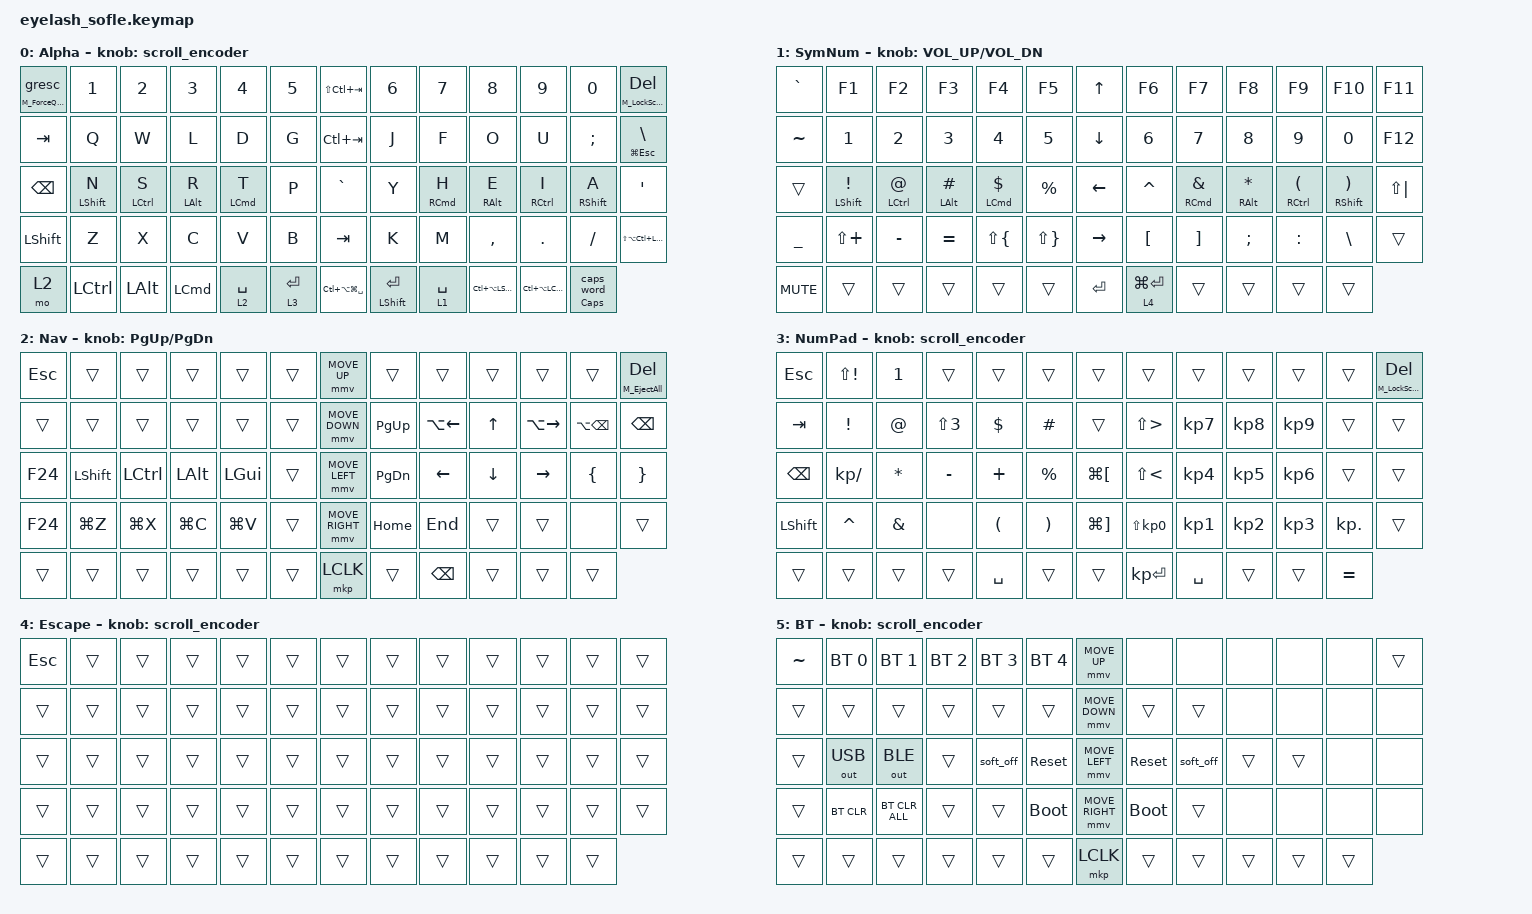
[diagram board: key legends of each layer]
#define ZMK_POINTING_DEFAULT_MOVE_VAL 1200  // 600
#define ZMK_POINTING_DEFAULT_SCRL_VAL 25   // 10

#include <input/processors.dtsi>
#include <zephyr/dt-bindings/input/input-event-codes.h>
#include <behaviors.dtsi>
#include <dt-bindings/zmk/bt.h>
#include <dt-bindings/zmk/keys.h>
#include <dt-bindings/zmk/outputs.h>
#include <dt-bindings/zmk/pointing.h>

&mmv_input_listener { input-processors = <&zip_xy_scaler 2 1>; };

&msc_input_listener { input-processors = <&zip_scroll_scaler 2 1>; };

&msc {
    acceleration-exponent = <1>;      // 0
    time-to-max-speed-ms = <100>;       // 300
    delay-ms = <0>;                   // 0
};

&mmv {
    time-to-max-speed-ms = <500>;
    acceleration-exponent = <1>;
    trigger-period-ms = <16>;
};

&soft_off { hold-time-ms = <2000>; };

&mt {
    tapping-term-ms = <165>;
    flavor = "balanced";
};

&gresc { keep-mods = <(MOD_LSFT|MOD_LGUI|MOD_RSFT|MOD_RGUI)>; };

/ {
    scroll_encoder: scroll_encoder {
        compatible = "zmk,behavior-sensor-rotate";
        #sensor-binding-cells = <0>;
        bindings = <&msc SCRL_UP>, <&msc SCRL_DOWN>;

        tap-ms = <100>;
        label = "mouseScroll";
    };

    TH_Caps: TH_Caps {
        compatible = "zmk,behavior-hold-tap";
        label = "TH_CAPS";
        bindings = <&kp>, <&caps_word>;

        #binding-cells = <2>;
        tapping-term-ms = <200>;
        flavor = "tap-preferred";
    };

    BH_Scroll_Encoder: BH_Scroll_Encoder {
        compatible = "zmk,behavior-sensor-rotate";
        label = "BH_SCROLL_ENCODER";
        #sensor-binding-cells = <0>;
        bindings = <&msc SCRL_UP>, <&msc SCRL_DOWN>;

        tap-ms = <100>;
    };

    TH_Gresc_ForceQuit: TH_Gresc_ForceQuit {
        compatible = "zmk,behavior-hold-tap";
        label = "TH_GRESC_FORCEQUIT";
        bindings = <&M_ForceQuit>, <&gresc>;

        #binding-cells = <2>;
        tapping-term-ms = <400>;
        flavor = "tap-preferred";
    };

    Del_ejectAll: Del_ejectAll {
        compatible = "zmk,behavior-hold-tap";
        label = "DEL_EJECTALL";
        bindings = <&M_EjectAll>, <&kp>;

        #binding-cells = <2>;
        tapping-term-ms = <300>;
        flavor = "tap-preferred";
    };

    del_scrnSvr: del_scrnSvr {
        compatible = "zmk,behavior-hold-tap";
        label = "DEL_SCRNSVR";
        bindings = <&M_LockScreen>, <&kp>;

        #binding-cells = <2>;
        tapping-term-ms = <300>;
        flavor = "tap-preferred";
    };

    mt_L: mt_L {
        compatible = "zmk,behavior-hold-tap";
        label = "MT_L";
        bindings = <&kp>, <&kp>;

        #binding-cells = <2>;
        tapping-term-ms = <200>;
        quick-tap-ms = <175>;
        require-prior-idle-ms = <150>;
        flavor = "balanced";
        hold-trigger-on-release;
        hold-trigger-key-positions = <59 60 46 47 48 49 50 7 8 9 10 11 20 21 22 23 24 25 33 34 35 36 37 38 48>;
    };

    mt_R: mt_R {
        compatible = "zmk,behavior-hold-tap";
        label = "MT_R";
        bindings = <&kp>, <&kp>;

        #binding-cells = <2>;
        tapping-term-ms = <200>;
        quick-tap-ms = <175>;
        require-prior-idle-ms = <150>;
        flavor = "balanced";
        hold-trigger-on-release;
        hold-trigger-key-positions = <1 2 3 4 5 13 14 15 16 17 18 26 27 28 29 30 31 40 41 42 43 44 56 57 0>;
    };

    TH_tapPreferred: TH_tapPreferred {
        compatible = "zmk,behavior-hold-tap";
        label = "TH_TAPPREFERRED";
        bindings = <&kp>, <&kp>;

        #binding-cells = <2>;
        tapping-term-ms = <250>;
        flavor = "tap-preferred";
    };

    behaviors {
    };

    combos {
        compatible = "zmk,combos";

        softoff {
            bindings = <&soft_off>;
            key-positions = <14 28 40>;
        };

        Undo {
            bindings = <&kp LG(Z)>;
            key-positions = <40 41>;
        };

        cut {
            bindings = <&kp LG(X)>;
            key-positions = <41 42>;
        };

        Copy {
            bindings = <&kp LG(C)>;
            key-positions = <42 43>;
        };

        Paste {
            bindings = <&kp LG(V)>;
            key-positions = <44 43>;
        };

        CreateNew {
            bindings = <&kp LG(N)>;
            key-positions = <27 28>;
        };

        SelectAll {
            bindings = <&kp LG(A)>;
            key-positions = <39 27>;
        };

        SelectAll_v2 {
            bindings = <&kp LG(A)>;
            key-positions = <51 37>;
        };

        ForceQuit {
            bindings = <&M_ForceQuit>;
            key-positions = <0 12>;
        };
    };

    macros {
        M_ForceQuit: M_ForceQUit {
            compatible = "zmk,behavior-macro";
            #binding-cells = <0>;
            bindings =
                <&macro_press>,
                <&kp LEFT_GUI &kp LEFT_ALT>,
                <&macro_press>,
                <&kp ESCAPE>,
                <&macro_release>,
                <&kp ESCAPE>,
                <&macro_release>,
                <&kp LEFT_GUI &kp LEFT_ALT>;

            label = "M_FORCEQUIT";
        };

        M_EjectAll: M_EjectAll {
            compatible = "zmk,behavior-macro";
            #binding-cells = <0>;
            bindings =
                <&macro_tap>,
                <&macro_wait_time 400>,
                <&kp LG(SPACE)>,
                <&macro_wait_time 100>,
                <&kp E &kp J &kp E &kp C &kp T &kp SPACE &kp A &kp L &kp L>,
                <&macro_wait_time 250>,
                <&macro_tap>,
                <&kp ENTER>;

            label = "M_EJECTALL";
        };

        M_LockScreen: M_LockScreen {
            compatible = "zmk,behavior-macro";
            #binding-cells = <0>;
            bindings =
                <&macro_tap>,
                <&macro_wait_time 400>,
                <&kp LG(SPACE)>,
                <&macro_wait_time 100>,
                <&kp L &kp O &kp C &kp K &kp SPACE &kp S &kp C &kp R &kp E &kp E &kp N>,
                <&macro_wait_time 250>,
                <&macro_tap>,
                <&kp ENTER>;

            label = "M_LOCKSCREEN";
        };
    };

    keymap {
        compatible = "zmk,keymap";

        layer_0 {
            bindings = <
&TH_Gresc_ForceQuit 0 0  &kp N1              &kp N2                &kp N3            &kp N4                &kp N5         &kp LS(LC(TAB))        &kp N6                 &kp N7                 &kp N8                  &kp N9                    &kp N0               &del_scrnSvr 0 DELETE
&kp TAB                  &kp Q               &kp W                 &kp L             &kp D                 &kp G          &kp LC(TAB)            &kp J                  &kp F                  &kp O                   &kp U                     &kp SEMICOLON        &TH_tapPreferred LG(ESC) BACKSLASH
&kp BACKSPACE            &mt_L LEFT_SHIFT N  &mt_L LEFT_CONTROL S  &mt_L LEFT_ALT R  &mt_L LEFT_COMMAND T  &kp P          &kp GRAVE              &kp Y                  &mt_R RIGHT_COMMAND H  &mt_R RIGHT_ALT E       &mt_R RIGHT_CONTROL I     &mt_R RIGHT_SHIFT A  &kp APOS
&kp LSHFT                &kp Z               &kp X                 &kp C             &kp V                 &kp B          &kp TAB                &kp K                  &kp M                  &kp COMMA               &kp DOT                   &kp FSLH             &kp LS(LA(LC(LEFT_COMMAND)))
&mo 2                    &kp LCTRL           &kp LEFT_ALT          &kp LEFT_COMMAND  &lt 2 SPACE           &lt 3 ENTER    &kp LC(LA(LG(SPACE)))  &mt LEFT_SHIFT RETURN  &lt 1 SPACE            &kp LC(LA(LEFT_SHIFT))  &kp LC(LA(LEFT_COMMAND))  &TH_Caps CAPS 0
            >;

            sensor-bindings = <&scroll_encoder>;
            display-name = "Alpha";
        };

        layer_1 {
            bindings = <
&kp GRAVE   &kp F1               &kp F2               &kp F3              &kp F4                   &kp F5          &kp UP_ARROW    &kp F6            &kp F7                  &kp F8              &kp F9                              &kp F10                            &kp F11
&kp TILDE   &kp NUMBER_1         &kp NUMBER_2         &kp N3              &kp N4                   &kp N5          &kp DOWN_ARROW  &kp N6            &kp N7                  &kp N8              &kp N9                              &kp N0                             &kp F12
&trans      &mt LEFT_SHIFT EXCL  &mt LEFT_CONTROL AT  &mt LEFT_ALT POUND  &mt LEFT_COMMAND DOLLAR  &kp PERCENT     &kp LEFT_ARROW  &kp CARET         &mt RIGHT_COMMAND AMPS  &mt RIGHT_ALT STAR  &mt RIGHT_CONTROL LEFT_PARENTHESIS  &mt RIGHT_SHIFT RIGHT_PARENTHESIS  &kp LS(PIPE)
&kp UNDER   &kp LS(PLUS)         &kp MINUS            &kp EQUAL           &kp LS(LBRC)             &kp LS(RBRC)    &kp RIGHT       &kp LEFT_BRACKET  &kp RIGHT_BRACKET       &kp SEMICOLON       &kp COLON                           &kp BACKSLASH                      &trans
&kp C_MUTE  &trans               &trans               &trans              &trans                   &trans          &kp ENTER       &lt 4 LG(ENTER)   &trans                  &trans              &trans                              &trans
            >;

            display-name = "SymNum";
            sensor-bindings = <&inc_dec_kp C_VOL_UP C_VOL_DN>;
        };

        layer_2 {
            bindings = <
&kp ESC  &trans     &trans     &trans     &trans     &trans    &mmv MOVE_UP     &trans     &trans         &trans    &trans         &trans        &Del_ejectAll 0 DELETE
&trans   &trans     &trans     &trans     &trans     &trans    &mmv MOVE_DOWN   &kp PG_UP  &kp LA(LEFT)   &kp UP    &kp LA(RIGHT)  &kp LA(BSPC)  &kp BACKSPACE
&kp F24  &kp LSHFT  &kp LCTRL  &kp LALT   &kp LGUI   &trans    &mmv MOVE_LEFT   &kp PG_DN  &kp LEFT       &kp DOWN  &kp RIGHT      &kp LBRC      &kp RIGHT_BRACE
&kp F24  &kp LG(Z)  &kp LG(X)  &kp LG(C)  &kp LG(V)  &trans    &mmv MOVE_RIGHT  &kp HOME   &kp END        &trans    &trans         &none         &trans
&trans   &trans     &trans     &trans     &trans     &trans    &mkp LCLK        &trans     &kp BACKSPACE  &trans    &trans         &trans
            >;

            display-name = "Nav";
            sensor-bindings = <&inc_dec_kp PAGE_UP PAGE_DOWN>;
        };

        layer_3 {
            bindings = <
&kp ESC         &kp LS(EXCL)   &kp N1         &trans            &trans                &trans                   &trans                 &trans                &trans           &trans           &trans           &trans      &del_scrnSvr 0 DELETE
&kp TAB         &kp EXCL       &kp AT         &kp LS(NUMBER_3)  &kp DOLLAR            &kp HASH                 &trans                 &kp LS(GREATER_THAN)  &kp KP_NUMBER_7  &kp KP_NUMBER_8  &kp KP_NUMBER_9  &trans      &trans
&kp BSPC        &kp KP_DIVIDE  &kp ASTERISK   &kp MINUS         &kp PLUS              &kp PERCENT              &kp LG(LEFT_BRACKET)   &kp LS(LESS_THAN)     &kp KP_NUMBER_4  &kp KP_NUMBER_5  &kp KP_NUMBER_6  &trans      &trans
&kp LEFT_SHIFT  &kp CARET      &kp AMPERSAND  &none             &kp LEFT_PARENTHESIS  &kp RIGHT_PARENTHESIS    &kp LG(RIGHT_BRACKET)  &kp LS(KP_NUMBER_0)   &kp KP_NUMBER_1  &kp KP_NUMBER_2  &kp KP_NUMBER_3  &kp KP_DOT  &trans
&trans          &trans         &trans         &trans            &kp SPACE             &trans                   &trans                 &kp KP_ENTER          &kp SPACE        &trans           &trans           &kp EQUAL
            >;

            display-name = "NumPad";
            sensor-bindings = <&scroll_encoder>;
        };

        layer_4 {
            bindings = <
&kp ESC  &trans  &trans  &trans  &trans  &trans    &trans  &trans  &trans  &trans  &trans  &trans  &trans
&trans   &trans  &trans  &trans  &trans  &trans    &trans  &trans  &trans  &trans  &trans  &trans  &trans
&trans   &trans  &trans  &trans  &trans  &trans    &trans  &trans  &trans  &trans  &trans  &trans  &trans
&trans   &trans  &trans  &trans  &trans  &trans    &trans  &trans  &trans  &trans  &trans  &trans  &trans
&trans   &trans  &trans  &trans  &trans  &trans    &trans  &trans  &trans  &trans  &trans  &trans
            >;

            display-name = "Escape";
            sensor-bindings = <&scroll_encoder>;
        };

        BTaccess {
            display-name = "BT";
            bindings = <
&kp TILDE  &bt BT_SEL 0  &bt BT_SEL 1    &bt BT_SEL 2  &bt BT_SEL 3  &bt BT_SEL 4    &mmv MOVE_UP     &none        &none      &none   &none   &none   &trans
&trans     &trans        &trans          &trans        &trans        &trans          &mmv MOVE_DOWN   &trans       &trans     &none   &none   &none   &none
&trans     &out OUT_USB  &out OUT_BLE    &trans        &soft_off     &sys_reset      &mmv MOVE_LEFT   &sys_reset   &soft_off  &trans  &trans  &none   &none
&trans     &bt BT_CLR    &bt BT_CLR_ALL  &trans        &trans        &bootloader     &mmv MOVE_RIGHT  &bootloader  &trans     &none   &none   &none   &none
&trans     &trans        &trans          &trans        &trans        &trans          &mkp LCLK        &trans       &trans     &trans  &trans  &trans
            >;

            sensor-bindings = <&scroll_encoder>;
        };
    };

    conditional_layers {
        compatible = "zmk,conditional-layers";

        BTaccess {
            if-layers = <2 3>;
            then-layer = <5>;
        };
    };
};
